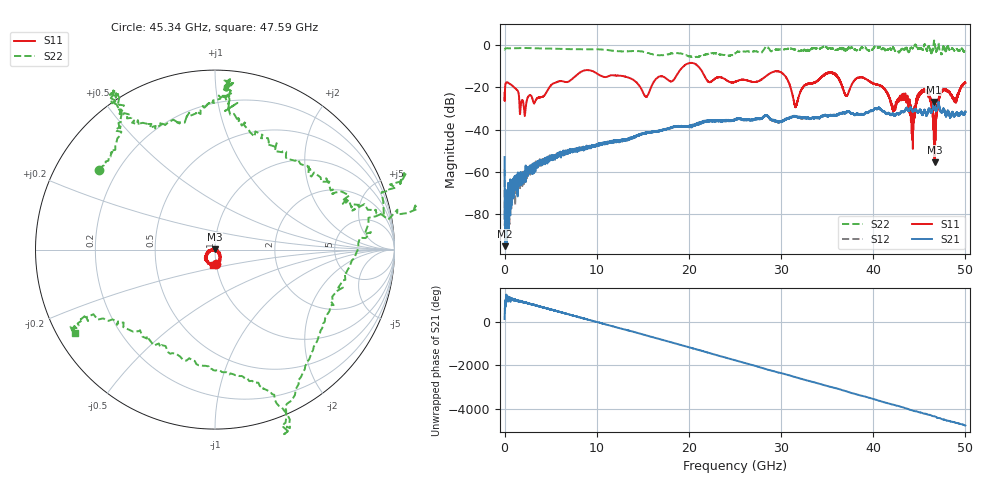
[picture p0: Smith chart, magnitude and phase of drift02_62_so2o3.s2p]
!Created with skrf (http://scikit-rf.org).
# Hz S RI R 50.0
!freq ReS11 ImS11 ReS21 ImS21 ReS12 ImS12 ReS22 ImS22
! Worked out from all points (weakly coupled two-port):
!   10001 points, 300 kHz to 50 GHz, reference 50 ohm
!   highest |S21| = -26.88 dB at 46.59 GHz (marker M1); lowest = -95.3 dB at 45.3 MHz (marker M2)
!   lowest |S11| = -55.5 dB at 46.65 GHz (marker M3), VSWR 1.00, Z = 49.9 + j0.103 ohm
!   |S11| at or under -10 dB: start of sweep to 19.42 GHz; 21 GHz to end of sweep
!   |S22| runs from -5.7 to 2.3 dB; largest |S21 - S12| = 0.0033
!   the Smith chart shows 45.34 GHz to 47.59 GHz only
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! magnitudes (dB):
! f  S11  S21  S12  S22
! 300 kHz  -22.5  -53.1  -58.9  -2.1
! 45.3 MHz  -20.7  -95.3  -80.0  -1.7
! 255.3 MHz  -17.6  -71.7  -79.1  -1.4
! 2.19 GHz  -33.6  -59.5  -61.9  -1.3
! 8.335 GHz  -12.5  -49.0  -49.6  -1.9
! 15.34 GHz  -24.5  -41.8  -41.6  -3.3
! 16.67 GHz  -15.1  -40.9  -40.8  -4.7
! 20.29 GHz  -8.4  -38.2  -38.3  -5.5
! 25 GHz  -17.4  -35.4  -35.4  -3.9
! 29.85 GHz  -12.6  -36.3  -36.5  -2.0
! 31.59 GHz  -28.8  -33.7  -34.0  -2.4
! 33.34 GHz  -18.0  -34.7  -34.5  -1.6
! 35.61 GHz  -13.1  -33.2  -33.1  -1.6
! 37.1 GHz  -24.1  -31.8  -31.6  -2.3
! 38.76 GHz  -15.3  -32.7  -32.6  -1.0
! 41.67 GHz  -24.0  -32.1  -32.2  -1.9
! 44.29 GHz  -39.0  -31.2  -31.3  -1.5
! 45.7 GHz  -21.3  -32.4  -32.2  -0.8
! 46.59 GHz  -39.4  -26.9  -27.3  1.7
! 46.65 GHz  -55.5  -28.0  -27.9  0.8
! 47.47 GHz  -21.7  -32.0  -31.8  -3.4
! 50 GHz  -17.9  -31.6  -31.7  -2.7
